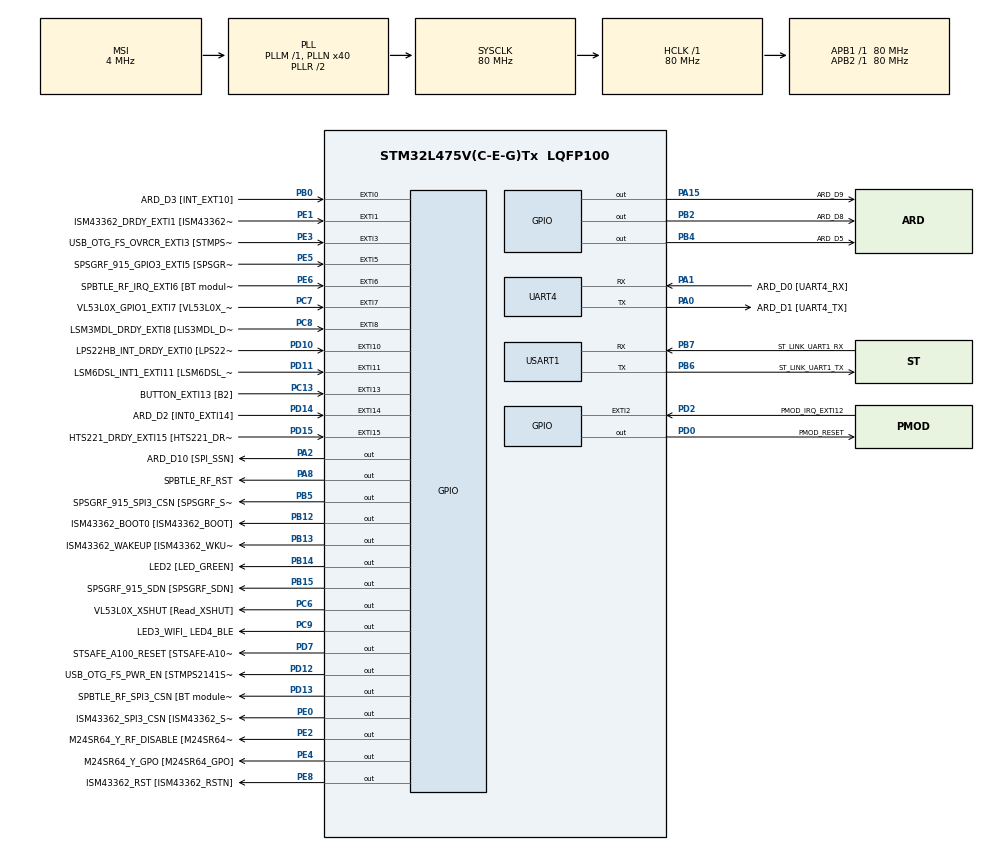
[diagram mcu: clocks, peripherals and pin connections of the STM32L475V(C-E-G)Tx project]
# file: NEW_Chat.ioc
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Mcu.Family=STM32L4
Mcu.Name=STM32L475V(C-E-G)Tx
Mcu.Package=LQFP100
NVIC.EXTI15_10_IRQn=true\:0\:0\:false\:false\:true\:true\:true
NVIC.EXTI9_5_IRQn=true\:0\:0\:false\:false\:true\:true\:true
NVIC.PriorityGroup=NVIC_PRIORITYGROUP_4
NVIC.UART4_IRQn=true\:0\:0\:false\:false\:true\:true\:true
NVIC.USART1_IRQn=true\:0\:0\:false\:false\:true\:true\:true
PA0.GPIO_Label=ARD_D1 [UART4_TX]
PA0.Mode=Asynchronous
PA0.Signal=UART4_TX
PA1.GPIO_Label=ARD_D0 [UART4_RX]
PA1.Mode=Asynchronous
PA1.Signal=UART4_RX
PA10.GPIO_Label=USB_OTG_FS_ID
PA10.Signal=USB_OTG_FS_ID
PA11.GPIO_Label=USB_OTG_FS_DM
PA11.Signal=USB_OTG_FS_DM
PA12.GPIO_Label=USB_OTG_FS_DP
PA12.Signal=USB_OTG_FS_DP
PA13\ (JTMS-SWDIO).GPIO_Label=SYS_JTMS_SWDIO
PA13\ (JTMS-SWDIO).Signal=SYS_JTMS-SWDIO
PA14\ (JTCK-SWCLK).GPIO_Label=SYS_JTCK_SWCLK
PA14\ (JTCK-SWCLK).Signal=SYS_JTCK-SWCLK
PA15\ (JTDI).GPIO_Label=ARD_D9
PA15\ (JTDI).Signal=GPIO_Output
PA2.GPIO_Label=ARD_D10 [SPI_SSN]
PA2.Signal=GPIO_Output
PA3.GPIO_Label=ARD_D4
PA3.Signal=S_TIM2_CH4
PA4.GPIO_Label=ARD_D7
PA4.Signal=ADCx_IN9
PA5.GPIO_Label=ARD_D13 [SPI1_SCK]
PA5.Signal=SPI1_SCK
PA6.GPIO_Label=ARD_D12 [SPI1_MISO]
PA6.Signal=SPI1_MISO
PA7.GPIO_Label=ARD_D11 [SPI1_MOSI]
PA7.Signal=SPI1_MOSI
PA8.GPIO_Label=SPBTLE_RF_RST
PA8.Signal=GPIO_Output
PA9.GPIO_Label=USB_OTG_FS_VBUS [STMPS2141STR_OUT]
PA9.Signal=USB_OTG_FS_VBUS
PB0.GPIO_Label=ARD_D3 [INT_EXT10]
PB0.Signal=GPXTI0
PB1.GPIO_Label=ARD_D6 [ADC1_IN6]
PB1.Signal=ADCx_IN16
PB10.GPIO_Label=INTERNAL_I2C2_SCL [VL53L0X_SCL]
PB10.Signal=I2C2_SCL
PB11.GPIO_Label=INTERNAL_I2C2_SDA [VL53L0X_SDA]
PB11.Signal=I2C2_SDA
PB12.GPIO_Label=ISM43362_BOOT0 [ISM43362_BOOT]
PB12.Signal=GPIO_Output
PB13.GPIO_Label=ISM43362_WAKEUP [ISM43362_WKUP]
PB13.Signal=GPIO_Output
PB14.GPIO_Label=LED2 [LED_GREEN]
PB14.Signal=GPIO_Output
PB15.GPIO_Label=SPSGRF_915_SDN [SPSGRF_SDN]
PB15.Signal=GPIO_Output
PB2.GPIO_Label=ARD_D8
PB2.Signal=GPIO_Output
PB3\ (JTDO-TRACESWO).GPIO_Label=SYS_JTD0_SWO
PB3\ (JTDO-TRACESWO).Signal=SYS_JTDO-SWO
PB4\ (NJTRST).GPIO_Label=ARD_D5
PB4\ (NJTRST).Signal=GPIO_Output
PB5.GPIO_Label=SPSGRF_915_SPI3_CSN [SPSGRF_SPI_CS]
PB5.PinState=GPIO_PIN_SET
PB5.Signal=GPIO_Output
PB6.GPIO_Label=ST_LINK_UART1_TX
PB6.Mode=Asynchronous
PB6.Signal=USART1_TX
PB7.GPIO_Label=ST_LINK_UART1_RX
PB7.Mode=Asynchronous
PB7.Signal=USART1_RX
PB8.GPIO_Label=ARD_D15 [I2C1_SCL]
PB8.Signal=I2C1_SCL
PB9.GPIO_Label=ARD_D14 [I2C1_SDA]
PB9.Signal=I2C1_SDA
PC0.GPIO_Label=ARD_A5 [ADC]
PC0.Signal=ADCx_IN1
PC1.GPIO_Label=ARD_A4 [ADC]
PC1.Signal=ADCx_IN2
PC10.GPIO_Label=INTERNAL_SPI3_SCK [BT module_SPI_SCLK] [ISM43362_SCK]
PC10.Signal=SPI3_SCK
PC11.GPIO_Label=INTERNAL_SPI3_MISO [BT module_SPI_MISO] [ISM43362_MISO]
PC11.Signal=SPI3_MISO
PC12.GPIO_Label=INTERNAL_SPI3_MOSI [BT module_SPI_MOSI] [ISM43362_MOSI]
PC12.Signal=SPI3_MOSI
PC13.GPIO_Label=BUTTON_EXTI13 [B2]
PC13.GPIO_ModeDefaultEXTI=GPIO_MODE_IT_FALLING
PC13.Signal=GPXTI13
PC14-OSC32_IN\ (PC14).Signal=RCC_OSC32_IN
PC15-OSC32_OUT\ (PC15).Signal=RCC_OSC32_OUT
PC2.GPIO_Label=ARD_A3 [ADC]
PC2.Signal=ADCx_IN3
PC3.GPIO_Label=ARD_A2 [ADC]
PC3.Signal=ADCx_IN4
PC4.GPIO_Label=ARD_A1 [ADC]
PC4.Signal=ADCx_IN13
PC5.GPIO_Label=ARD_A0 [ADC]
PC5.Signal=ADCx_IN14
PC6.GPIO_Label=VL53L0X_XSHUT [Read_XSHUT]
PC6.Signal=GPIO_Output
PC7.GPIO_Label=VL53L0X_GPIO1_EXTI7 [VL53L0X_GPIO1]
PC7.Signal=GPXTI7
PC8.GPIO_Label=LSM3MDL_DRDY_EXTI8 [LIS3MDL_DRDY]
PC8.Signal=GPXTI8
PC9.GPIO_Label=LED3_WIFI_ LED4_BLE
PC9.Signal=GPIO_Output
PD0.GPIO_Label=PMOD_RESET
PD0.Signal=GPIO_Output
PD1.GPIO_Label=PMOD_SPI2_SCK
PD1.Signal=SPI2_SCK
PD10.GPIO_Label=LPS22HB_INT_DRDY_EXTI0 [LPS22HB_INT_DRDY] 
PD10.Signal=GPXTI10
PD11.GPIO_Label=LSM6DSL_INT1_EXTI11 [LSM6DSL_INT1]
PD11.Signal=GPXTI11
PD12.GPIO_Label=USB_OTG_FS_PWR_EN [STMPS2141STR_EN]
PD12.Signal=GPIO_Output
PD13.GPIO_Label=SPBTLE_RF_SPI3_CSN [BT module_SPI_CS]
PD13.PinState=GPIO_PIN_SET
PD13.Signal=GPIO_Output
PD14.GPIO_Label=ARD_D2 [INT0_EXTI14]
PD14.Signal=GPXTI14
PD15.GPIO_Label=HTS221_DRDY_EXTI15 [HTS221_DRDY]
PD15.Signal=GPXTI15
PD2.GPIO_Label=PMOD_IRQ_EXTI12
PD2.Signal=GPXTI2
PD3.GPIO_Label=PMOD_UART2_CTS
PD3.Signal=USART2_CTS
PD4.GPIO_Label=PMOD_UART2_RTS
PD4.Signal=USART2_RTS
PD5.GPIO_Label=PMOD_UART2_TX
PD5.Signal=USART2_TX
PD6.GPIO_Label=PMOD_UART2_RX
PD6.Signal=USART2_RX
PD7.GPIO_Label=STSAFE_A100_RESET [STSAFE-A100_RESET]
PD7.Signal=GPIO_Output
PD8.GPIO_Label=INTERNAL_UART3_TX [ISM43362_RX]
PD8.Signal=USART3_TX
PD9.GPIO_Label=INTERNAL_UART3_RX [ISM43362_TX]
PD9.Signal=USART3_RX
PE0.GPIO_Label=ISM43362_SPI3_CSN [ISM43362_SSN]
PE0.PinState=GPIO_PIN_SET
PE0.Signal=GPIO_Output
PE1.GPIO_Label=ISM43362_DRDY_EXTI1 [ISM43362_DATARDY]
PE1.Signal=GPXTI1
PE10.GPIO_Label=QUADSPI_CLK [MX25R6435F_SCLK]
PE10.Signal=QUADSPI_CLK
PE11.GPIO_Label=QUADSPI_NCS [MX25R6435F_SCLK]
PE11.Signal=QUADSPI_NCS
PE12.GPIO_Label=OQUADSPI_BK1_IO0 [MX25R6435F_IO0]
PE12.Signal=QUADSPI_BK1_IO0
PE13.GPIO_Label=QUADSPI_BK1_IO1 [MX25R6435F_IO1]
PE13.Signal=QUADSPI_BK1_IO1
PE14.GPIO_Label=QUAD_SPI_BK1_IO2 [MX25R6435F_IO2]
PE14.Signal=QUADSPI_BK1_IO2
PE15.GPIO_Label=QUAD_SPI_BK1_IO3 [MX25R6435F_IO3]
PE15.Signal=QUADSPI_BK1_IO3
PE2.GPIO_Label=M24SR64_Y_RF_DISABLE [M24SR64_RFDIS]
PE2.Signal=GPIO_Output
PE3.GPIO_Label=USB_OTG_FS_OVRCR_EXTI3 [STMPS2141STR_FAULT]
PE3.Signal=GPXTI3
PE4.GPIO_Label=M24SR64_Y_GPO [M24SR64_GPO]
PE4.Signal=GPIO_Output
PE5.GPIO_Label=SPSGRF_915_GPIO3_EXTI5 [SPSGRF_GPIO_3]
PE5.Signal=GPXTI5
PE6.GPIO_Label=SPBTLE_RF_IRQ_EXTI6 [BT module_SPI_IRQ]
PE6.Signal=GPXTI6
PE7.GPIO_Label=DFSDM1_DATIN2 [MP34DT01_DOUT]
PE7.Signal=S_DATAIN2DFSDM1
PE8.GPIO_Label=ISM43362_RST [ISM43362_RSTN]
PE8.Signal=GPIO_Output
PE9.GPIO_Label=DFSDM1_CKOUT [MP34DT01_CLK]
PE9.Signal=S_CKOUTDFSDM1
ProjectManager.HeapSize=0x200
ProjectManager.StackSize=0x400
ProjectManager.TargetToolchain=STM32CubeIDE
RCC.ADCFreq_Value=48000000
RCC.AHBFreq_Value=80000000
RCC.APB1Freq_Value=80000000
RCC.APB1TimFreq_Value=80000000
RCC.APB2Freq_Value=80000000
RCC.APB2TimFreq_Value=80000000
RCC.CortexFreq_Value=80000000
RCC.HCLKFreq_Value=80000000
RCC.HSE_VALUE=8000000
RCC.HSI_VALUE=16000000
RCC.LSE_VALUE=32768
RCC.MSI_VALUE=4000000
RCC.PLLN=40
RCC.PLLSAI1N=24
RCC.SYSCLKFreq_VALUE=80000000
RCC.SYSCLKSource=RCC_SYSCLKSOURCE_PLLCLK
RCC.USBFreq_Value=48000000
RCC.VCOOutputFreq_Value=160000000
SH.ADCx_IN1.0=ADC1_IN1
SH.ADCx_IN13.0=ADC1_IN13
SH.ADCx_IN14.0=ADC1_IN14
SH.ADCx_IN16.0=ADC1_IN16
SH.ADCx_IN2.0=ADC1_IN2
SH.ADCx_IN3.0=ADC1_IN3
SH.ADCx_IN4.0=ADC1_IN4
SH.ADCx_IN9.0=ADC1_IN9
SH.S_CKOUTDFSDM1.0=DFSDM1_CKOUT
SH.S_DATAIN2DFSDM1.0=DFSDM1_DATIN2
SH.S_TIM2_CH4.0=TIM2_CH4
USART1.VirtualMode-Asynchronous=VM_ASYNC
board=B-L475E-IOT01A1

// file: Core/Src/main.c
/* USER CODE BEGIN Header */
/**
  ******************************************************************************
  * @file           : main.c
  * @brief          : Main program body
  ******************************************************************************
  * @attention
  *
  * <h2><center>&copy; Copyright (c) 2022 STMicroelectronics.
  * All rights reserved.</center></h2>
  *
  * This software component is licensed by ST under BSD 3-Clause license,
  * the "License"; You may not use this file except in compliance with the
  * License. You may obtain a copy of the License at:
  *                        opensource.org/licenses/BSD-3-Clause
  *
  ******************************************************************************
  */
/* USER CODE END Header */
#include "main.h"

/* USER CODE BEGIN Includes */
#include"stdio.h"
#include"string.h"
/* USER CODE END Includes */

/* USER CODE BEGIN PM */
#define BUFFERDATA 2
#define BUFFERRX 50
/* USER CODE END PM */

UART_HandleTypeDef huart4;
UART_HandleTypeDef huart1;

/* USER CODE BEGIN PV */
char TxBuffer[30]="HELLO UART1 INT..!!\r\n";
char TxBuffer1[30]="HELLO UART4 INT..!!\r\n";

char rxBuffer[BUFFERRX];
char rxBuffer1[BUFFERRX];

uint8_t newMsg = 0 , rxData[BUFFERDATA] , rxIndex=0,size=0;
uint8_t newMsg1 = 0 , rxData1[BUFFERDATA] , rxIndex1=0,size1=0;
/* USER CODE END PV */

void SystemClock_Config(void);
static void MX_GPIO_Init(void);
static void MX_USART1_UART_Init(void);
static void MX_UART4_Init(void);

int main(void)
{

  /* MCU Configuration--------------------------------------------------------*/

  /* Reset of all peripherals, Initializes the Flash interface and the Systick. */
  HAL_Init();

  /* Configure the system clock */
  SystemClock_Config();

  /* Initialize all configured peripherals */
  MX_GPIO_Init();
  MX_USART1_UART_Init();
  MX_UART4_Init();
  /* USER CODE BEGIN 2 */

  HAL_UART_Transmit(&huart1,(uint8_t*)TxBuffer,strlen(TxBuffer),500);
  HAL_UART_Transmit(&huart4,(uint8_t*)TxBuffer1,strlen(TxBuffer1),500);
  HAL_UART_Receive_IT(&huart1,rxData,1);
  HAL_UART_Receive_IT(&huart4,rxData1,1);

  /* USER CODE END 2 */

  /* Infinite loop */
  while (1)
  {

    /* USER CODE BEGIN 3 */

		if(newMsg)
		{
			size =strlen(rxBuffer);
			//printf("Size of size : %d\n",size);

			rxBuffer[size]='\r';
			rxBuffer[size+1]='\n';

			HAL_UART_Transmit(&huart4,(uint8_t*)rxBuffer,(size + 3),500);

			memset(rxBuffer,0,(size + 3));
			newMsg=0;
		}

		if(newMsg1)
		{
			size1 =strlen(rxBuffer1);
			//printf("Size of size1 : %d\n",size1);
			rxBuffer1[size1]='\r';
			rxBuffer1[size1 + 1]='\n';

			HAL_UART_Transmit(&huart1,(uint8_t*)rxBuffer1,(size1 + 3),500);

			memset(rxBuffer1,0,(size1 + 3));
			newMsg1=0;
		}

  }
  /* USER CODE END 3 */
}

void SystemClock_Config(void)
{
  RCC_OscInitTypeDef RCC_OscInitStruct = {0};
  RCC_ClkInitTypeDef RCC_ClkInitStruct = {0};

  /** Configure the main internal regulator output voltage
  */
  if (HAL_PWREx_ControlVoltageScaling(PWR_REGULATOR_VOLTAGE_SCALE1) != HAL_OK)
  {
    Error_Handler();
  }
  /** Initializes the RCC Oscillators according to the specified parameters
  * in the RCC_OscInitTypeDef structure.
  */
  RCC_OscInitStruct.OscillatorType = RCC_OSCILLATORTYPE_MSI;
  RCC_OscInitStruct.MSIState = RCC_MSI_ON;
  RCC_OscInitStruct.MSICalibrationValue = 0;
  RCC_OscInitStruct.MSIClockRange = RCC_MSIRANGE_6;
  RCC_OscInitStruct.PLL.PLLState = RCC_PLL_ON;
  RCC_OscInitStruct.PLL.PLLSource = RCC_PLLSOURCE_MSI;
  RCC_OscInitStruct.PLL.PLLM = 1;
  RCC_OscInitStruct.PLL.PLLN = 40;
  RCC_OscInitStruct.PLL.PLLP = RCC_PLLP_DIV7;
  RCC_OscInitStruct.PLL.PLLQ = RCC_PLLQ_DIV2;
  RCC_OscInitStruct.PLL.PLLR = RCC_PLLR_DIV2;
  if (HAL_RCC_OscConfig(&RCC_OscInitStruct) != HAL_OK)
  {
    Error_Handler();
  }
  /** Initializes the CPU, AHB and APB buses clocks
  */
  RCC_ClkInitStruct.ClockType = RCC_CLOCKTYPE_HCLK|RCC_CLOCKTYPE_SYSCLK
                              |RCC_CLOCKTYPE_PCLK1|RCC_CLOCKTYPE_PCLK2;
  RCC_ClkInitStruct.SYSCLKSource = RCC_SYSCLKSOURCE_PLLCLK;
  RCC_ClkInitStruct.AHBCLKDivider = RCC_SYSCLK_DIV1;
  RCC_ClkInitStruct.APB1CLKDivider = RCC_HCLK_DIV1;
  RCC_ClkInitStruct.APB2CLKDivider = RCC_HCLK_DIV1;

  if (HAL_RCC_ClockConfig(&RCC_ClkInitStruct, FLASH_LATENCY_4) != HAL_OK)
  {
    Error_Handler();
  }
}

static void MX_UART4_Init(void)
{

  huart4.Instance = UART4;
  huart4.Init.BaudRate = 115200;
  huart4.Init.WordLength = UART_WORDLENGTH_8B;
  huart4.Init.StopBits = UART_STOPBITS_1;
  huart4.Init.Parity = UART_PARITY_NONE;
  huart4.Init.Mode = UART_MODE_TX_RX;
  huart4.Init.HwFlowCtl = UART_HWCONTROL_NONE;
  huart4.Init.OverSampling = UART_OVERSAMPLING_16;
  huart4.Init.OneBitSampling = UART_ONE_BIT_SAMPLE_DISABLE;
  huart4.AdvancedInit.AdvFeatureInit = UART_ADVFEATURE_NO_INIT;
  if (HAL_UART_Init(&huart4) != HAL_OK)
  {
    Error_Handler();
  }

}

static void MX_USART1_UART_Init(void)
{

  huart1.Instance = USART1;
  huart1.Init.BaudRate = 115200;
  huart1.Init.WordLength = UART_WORDLENGTH_8B;
  huart1.Init.StopBits = UART_STOPBITS_1;
  huart1.Init.Parity = UART_PARITY_NONE;
  huart1.Init.Mode = UART_MODE_TX_RX;
  huart1.Init.HwFlowCtl = UART_HWCONTROL_NONE;
  huart1.Init.OverSampling = UART_OVERSAMPLING_16;
  huart1.Init.OneBitSampling = UART_ONE_BIT_SAMPLE_DISABLE;
  huart1.AdvancedInit.AdvFeatureInit = UART_ADVFEATURE_NO_INIT;
  if (HAL_UART_Init(&huart1) != HAL_OK)
  {
    Error_Handler();
  }

}

static void MX_GPIO_Init(void)
{
  GPIO_InitTypeDef GPIO_InitStruct = {0};

  /* GPIO Ports Clock Enable */
  __HAL_RCC_GPIOE_CLK_ENABLE();
  __HAL_RCC_GPIOC_CLK_ENABLE();
  __HAL_RCC_GPIOA_CLK_ENABLE();
  __HAL_RCC_GPIOB_CLK_ENABLE();
  __HAL_RCC_GPIOD_CLK_ENABLE();

  /*Configure GPIO pin Output Level */
  HAL_GPIO_WritePin(GPIOE, M24SR64_Y_RF_DISABLE_Pin|M24SR64_Y_GPO_Pin|ISM43362_RST_Pin, GPIO_PIN_RESET);

  /*Configure GPIO pin Output Level */
  HAL_GPIO_WritePin(GPIOA, ARD_D10_Pin|SPBTLE_RF_RST_Pin|ARD_D9_Pin, GPIO_PIN_RESET);

  /*Configure GPIO pin Output Level */
  HAL_GPIO_WritePin(GPIOB, ARD_D8_Pin|ISM43362_BOOT0_Pin|ISM43362_WAKEUP_Pin|LED2_Pin
                          |SPSGRF_915_SDN_Pin|ARD_D5_Pin, GPIO_PIN_RESET);

  /*Configure GPIO pin Output Level */
  HAL_GPIO_WritePin(GPIOD, USB_OTG_FS_PWR_EN_Pin|PMOD_RESET_Pin|STSAFE_A100_RESET_Pin, GPIO_PIN_RESET);

  /*Configure GPIO pin Output Level */
  HAL_GPIO_WritePin(SPBTLE_RF_SPI3_CSN_GPIO_Port, SPBTLE_RF_SPI3_CSN_Pin, GPIO_PIN_SET);

  /*Configure GPIO pin Output Level */
  HAL_GPIO_WritePin(GPIOC, VL53L0X_XSHUT_Pin|LED3_WIFI__LED4_BLE_Pin, GPIO_PIN_RESET);

  /*Configure GPIO pin Output Level */
  HAL_GPIO_WritePin(SPSGRF_915_SPI3_CSN_GPIO_Port, SPSGRF_915_SPI3_CSN_Pin, GPIO_PIN_SET);

  /*Configure GPIO pin Output Level */
  HAL_GPIO_WritePin(ISM43362_SPI3_CSN_GPIO_Port, ISM43362_SPI3_CSN_Pin, GPIO_PIN_SET);

  /*Configure GPIO pins : M24SR64_Y_RF_DISABLE_Pin M24SR64_Y_GPO_Pin ISM43362_RST_Pin ISM43362_SPI3_CSN_Pin */
  GPIO_InitStruct.Pin = M24SR64_Y_RF_DISABLE_Pin|M24SR64_Y_GPO_Pin|ISM43362_RST_Pin|ISM43362_SPI3_CSN_Pin;
  GPIO_InitStruct.Mode = GPIO_MODE_OUTPUT_PP;
  GPIO_InitStruct.Pull = GPIO_NOPULL;
  GPIO_InitStruct.Speed = GPIO_SPEED_FREQ_LOW;
  HAL_GPIO_Init(GPIOE, &GPIO_InitStruct);

  /*Configure GPIO pins : USB_OTG_FS_OVRCR_EXTI3_Pin SPSGRF_915_GPIO3_EXTI5_Pin SPBTLE_RF_IRQ_EXTI6_Pin ISM43362_DRDY_EXTI1_Pin */
  GPIO_InitStruct.Pin = USB_OTG_FS_OVRCR_EXTI3_Pin|SPSGRF_915_GPIO3_EXTI5_Pin|SPBTLE_RF_IRQ_EXTI6_Pin|ISM43362_DRDY_EXTI1_Pin;
  GPIO_InitStruct.Mode = GPIO_MODE_IT_RISING;
  GPIO_InitStruct.Pull = GPIO_NOPULL;
  HAL_GPIO_Init(GPIOE, &GPIO_InitStruct);

  /*Configure GPIO pin : BUTTON_EXTI13_Pin */
  GPIO_InitStruct.Pin = BUTTON_EXTI13_Pin;
  GPIO_InitStruct.Mode = GPIO_MODE_IT_FALLING;
  GPIO_InitStruct.Pull = GPIO_NOPULL;
  HAL_GPIO_Init(BUTTON_EXTI13_GPIO_Port, &GPIO_InitStruct);

  /*Configure GPIO pins : ARD_A5_Pin ARD_A4_Pin ARD_A3_Pin ARD_A2_Pin
                           ARD_A1_Pin ARD_A0_Pin */
  GPIO_InitStruct.Pin = ARD_A5_Pin|ARD_A4_Pin|ARD_A3_Pin|ARD_A2_Pin
                          |ARD_A1_Pin|ARD_A0_Pin;
  GPIO_InitStruct.Mode = GPIO_MODE_ANALOG_ADC_CONTROL;
  GPIO_InitStruct.Pull = GPIO_NOPULL;
  HAL_GPIO_Init(GPIOC, &GPIO_InitStruct);

  /*Configure GPIO pins : ARD_D10_Pin SPBTLE_RF_RST_Pin ARD_D9_Pin */
  GPIO_InitStruct.Pin = ARD_D10_Pin|SPBTLE_RF_RST_Pin|ARD_D9_Pin;
  GPIO_InitStruct.Mode = GPIO_MODE_OUTPUT_PP;
  GPIO_InitStruct.Pull = GPIO_NOPULL;
  GPIO_InitStruct.Speed = GPIO_SPEED_FREQ_LOW;
  HAL_GPIO_Init(GPIOA, &GPIO_InitStruct);

  /*Configure GPIO pin : ARD_D4_Pin */
  GPIO_InitStruct.Pin = ARD_D4_Pin;
  GPIO_InitStruct.Mode = GPIO_MODE_AF_PP;
  GPIO_InitStruct.Pull = GPIO_NOPULL;
  GPIO_InitStruct.Speed = GPIO_SPEED_FREQ_LOW;
  GPIO_InitStruct.Alternate = GPIO_AF1_TIM2;
  HAL_GPIO_Init(ARD_D4_GPIO_Port, &GPIO_InitStruct);

  /*Configure GPIO pin : ARD_D7_Pin */
  GPIO_InitStruct.Pin = ARD_D7_Pin;
  GPIO_InitStruct.Mode = GPIO_MODE_ANALOG_ADC_CONTROL;
  GPIO_InitStruct.Pull = GPIO_NOPULL;
  HAL_GPIO_Init(ARD_D7_GPIO_Port, &GPIO_InitStruct);

  /*Configure GPIO pins : ARD_D13_Pin ARD_D12_Pin ARD_D11_Pin */
  GPIO_InitStruct.Pin = ARD_D13_Pin|ARD_D12_Pin|ARD_D11_Pin;
  GPIO_InitStruct.Mode = GPIO_MODE_AF_PP;
  GPIO_InitStruct.Pull = GPIO_NOPULL;
  GPIO_InitStruct.Speed = GPIO_SPEED_FREQ_VERY_HIGH;
  GPIO_InitStruct.Alternate = GPIO_AF5_SPI1;
  HAL_GPIO_Init(GPIOA, &GPIO_InitStruct);

  /*Configure GPIO pin : ARD_D3_Pin */
  GPIO_InitStruct.Pin = ARD_D3_Pin;
  GPIO_InitStruct.Mode = GPIO_MODE_IT_RISING;
  GPIO_InitStruct.Pull = GPIO_NOPULL;
  HAL_GPIO_Init(ARD_D3_GPIO_Port, &GPIO_InitStruct);

  /*Configure GPIO pin : ARD_D6_Pin */
  GPIO_InitStruct.Pin = ARD_D6_Pin;
  GPIO_InitStruct.Mode = GPIO_MODE_ANALOG_ADC_CONTROL;
  GPIO_InitStruct.Pull = GPIO_NOPULL;
  HAL_GPIO_Init(ARD_D6_GPIO_Port, &GPIO_InitStruct);

  /*Configure GPIO pins : ARD_D8_Pin ISM43362_BOOT0_Pin ISM43362_WAKEUP_Pin LED2_Pin
                           SPSGRF_915_SDN_Pin ARD_D5_Pin SPSGRF_915_SPI3_CSN_Pin */
  GPIO_InitStruct.Pin = ARD_D8_Pin|ISM43362_BOOT0_Pin|ISM43362_WAKEUP_Pin|LED2_Pin
                          |SPSGRF_915_SDN_Pin|ARD_D5_Pin|SPSGRF_915_SPI3_CSN_Pin;
  GPIO_InitStruct.Mode = GPIO_MODE_OUTPUT_PP;
  GPIO_InitStruct.Pull = GPIO_NOPULL;
  GPIO_InitStruct.Speed = GPIO_SPEED_FREQ_LOW;
  HAL_GPIO_Init(GPIOB, &GPIO_InitStruct);

  /*Configure GPIO pins : DFSDM1_DATIN2_Pin DFSDM1_CKOUT_Pin */
  GPIO_InitStruct.Pin = DFSDM1_DATIN2_Pin|DFSDM1_CKOUT_Pin;
  GPIO_InitStruct.Mode = GPIO_MODE_AF_PP;
  GPIO_InitStruct.Pull = GPIO_NOPULL;
  GPIO_InitStruct.Speed = GPIO_SPEED_FREQ_LOW;
  GPIO_InitStruct.Alternate = GPIO_AF6_DFSDM1;
  HAL_GPIO_Init(GPIOE, &GPIO_InitStruct);

  /*Configure GPIO pins : QUADSPI_CLK_Pin QUADSPI_NCS_Pin OQUADSPI_BK1_IO0_Pin QUADSPI_BK1_IO1_Pin
                           QUAD_SPI_BK1_IO2_Pin QUAD_SPI_BK1_IO3_Pin */
  GPIO_InitStruct.Pin = QUADSPI_CLK_Pin|QUADSPI_NCS_Pin|OQUADSPI_BK1_IO0_Pin|QUADSPI_BK1_IO1_Pin
                          |QUAD_SPI_BK1_IO2_Pin|QUAD_SPI_BK1_IO3_Pin;
  GPIO_InitStruct.Mode = GPIO_MODE_AF_PP;
  GPIO_InitStruct.Pull = GPIO_NOPULL;
  GPIO_InitStruct.Speed = GPIO_SPEED_FREQ_VERY_HIGH;
  GPIO_InitStruct.Alternate = GPIO_AF10_QUADSPI;
  HAL_GPIO_Init(GPIOE, &GPIO_InitStruct);

  /*Configure GPIO pins : INTERNAL_I2C2_SCL_Pin INTERNAL_I2C2_SDA_Pin */
  GPIO_InitStruct.Pin = INTERNAL_I2C2_SCL_Pin|INTERNAL_I2C2_SDA_Pin;
  GPIO_InitStruct.Mode = GPIO_MODE_AF_OD;
  GPIO_InitStruct.Pull = GPIO_NOPULL;
  GPIO_InitStruct.Speed = GPIO_SPEED_FREQ_VERY_HIGH;
  GPIO_InitStruct.Alternate = GPIO_AF4_I2C2;
  HAL_GPIO_Init(GPIOB, &GPIO_InitStruct);

  /*Configure GPIO pins : INTERNAL_UART3_TX_Pin INTERNAL_UART3_RX_Pin */
  GPIO_InitStruct.Pin = INTERNAL_UART3_TX_Pin|INTERNAL_UART3_RX_Pin;
  GPIO_InitStruct.Mode = GPIO_MODE_AF_PP;
  GPIO_InitStruct.Pull = GPIO_NOPULL;
  GPIO_InitStruct.Speed = GPIO_SPEED_FREQ_VERY_HIGH;
  GPIO_InitStruct.Alternate = GPIO_AF7_USART3;
  HAL_GPIO_Init(GPIOD, &GPIO_InitStruct);

  /*Configure GPIO pins : LPS22HB_INT_DRDY_EXTI0_Pin LSM6DSL_INT1_EXTI11_Pin ARD_D2_Pin HTS221_DRDY_EXTI15_Pin
                           PMOD_IRQ_EXTI12_Pin */
  GPIO_InitStruct.Pin = LPS22HB_INT_DRDY_EXTI0_Pin|LSM6DSL_INT1_EXTI11_Pin|ARD_D2_Pin|HTS221_DRDY_EXTI15_Pin
                          |PMOD_IRQ_EXTI12_Pin;
  GPIO_InitStruct.Mode = GPIO_MODE_IT_RISING;
  GPIO_InitStruct.Pull = GPIO_NOPULL;
  HAL_GPIO_Init(GPIOD, &GPIO_InitStruct);

  /*Configure GPIO pins : USB_OTG_FS_PWR_EN_Pin SPBTLE_RF_SPI3_CSN_Pin PMOD_RESET_Pin STSAFE_A100_RESET_Pin */
  GPIO_InitStruct.Pin = USB_OTG_FS_PWR_EN_Pin|SPBTLE_RF_SPI3_CSN_Pin|PMOD_RESET_Pin|STSAFE_A100_RESET_Pin;
  GPIO_InitStruct.Mode = GPIO_MODE_OUTPUT_PP;
  GPIO_InitStruct.Pull = GPIO_NOPULL;
  GPIO_InitStruct.Speed = GPIO_SPEED_FREQ_LOW;
  HAL_GPIO_Init(GPIOD, &GPIO_InitStruct);

  /*Configure GPIO pins : VL53L0X_XSHUT_Pin LED3_WIFI__LED4_BLE_Pin */
  GPIO_InitStruct.Pin = VL53L0X_XSHUT_Pin|LED3_WIFI__LED4_BLE_Pin;
  GPIO_InitStruct.Mode = GPIO_MODE_OUTPUT_PP;
  GPIO_InitStruct.Pull = GPIO_NOPULL;
  GPIO_InitStruct.Speed = GPIO_SPEED_FREQ_LOW;
  HAL_GPIO_Init(GPIOC, &GPIO_InitStruct);

  /*Configure GPIO pins : VL53L0X_GPIO1_EXTI7_Pin LSM3MDL_DRDY_EXTI8_Pin */
  GPIO_InitStruct.Pin = VL53L0X_GPIO1_EXTI7_Pin|LSM3MDL_DRDY_EXTI8_Pin;
  GPIO_InitStruct.Mode = GPIO_MODE_IT_RISING;
  GPIO_InitStruct.Pull = GPIO_NOPULL;
  HAL_GPIO_Init(GPIOC, &GPIO_InitStruct);

  /*Configure GPIO pin : USB_OTG_FS_VBUS_Pin */
  GPIO_InitStruct.Pin = USB_OTG_FS_VBUS_Pin;
  GPIO_InitStruct.Mode = GPIO_MODE_INPUT;
  GPIO_InitStruct.Pull = GPIO_NOPULL;
  HAL_GPIO_Init(USB_OTG_FS_VBUS_GPIO_Port, &GPIO_InitStruct);

  /*Configure GPIO pins : USB_OTG_FS_ID_Pin USB_OTG_FS_DM_Pin USB_OTG_FS_DP_Pin */
  GPIO_InitStruct.Pin = USB_OTG_FS_ID_Pin|USB_OTG_FS_DM_Pin|USB_OTG_FS_DP_Pin;
  GPIO_InitStruct.Mode = GPIO_MODE_AF_PP;
  GPIO_InitStruct.Pull = GPIO_NOPULL;
  GPIO_InitStruct.Speed = GPIO_SPEED_FREQ_VERY_HIGH;
  GPIO_InitStruct.Alternate = GPIO_AF10_OTG_FS;
  HAL_GPIO_Init(GPIOA, &GPIO_InitStruct);

  /*Configure GPIO pins : INTERNAL_SPI3_SCK_Pin INTERNAL_SPI3_MISO_Pin INTERNAL_SPI3_MOSI_Pin */
  GPIO_InitStruct.Pin = INTERNAL_SPI3_SCK_Pin|INTERNAL_SPI3_MISO_Pin|INTERNAL_SPI3_MOSI_Pin;
  GPIO_InitStruct.Mode = GPIO_MODE_AF_PP;
  GPIO_InitStruct.Pull = GPIO_NOPULL;
  GPIO_InitStruct.Speed = GPIO_SPEED_FREQ_VERY_HIGH;
  GPIO_InitStruct.Alternate = GPIO_AF6_SPI3;
  HAL_GPIO_Init(GPIOC, &GPIO_InitStruct);

  /*Configure GPIO pin : PMOD_SPI2_SCK_Pin */
  GPIO_InitStruct.Pin = PMOD_SPI2_SCK_Pin;
  GPIO_InitStruct.Mode = GPIO_MODE_AF_PP;
  GPIO_InitStruct.Pull = GPIO_NOPULL;
  GPIO_InitStruct.Speed = GPIO_SPEED_FREQ_VERY_HIGH;
  GPIO_InitStruct.Alternate = GPIO_AF5_SPI2;
  HAL_GPIO_Init(PMOD_SPI2_SCK_GPIO_Port, &GPIO_InitStruct);

  /*Configure GPIO pins : PMOD_UART2_CTS_Pin PMOD_UART2_RTS_Pin PMOD_UART2_TX_Pin PMOD_UART2_RX_Pin */
  GPIO_InitStruct.Pin = PMOD_UART2_CTS_Pin|PMOD_UART2_RTS_Pin|PMOD_UART2_TX_Pin|PMOD_UART2_RX_Pin;
  GPIO_InitStruct.Mode = GPIO_MODE_AF_PP;
  GPIO_InitStruct.Pull = GPIO_NOPULL;
  GPIO_InitStruct.Speed = GPIO_SPEED_FREQ_VERY_HIGH;
  GPIO_InitStruct.Alternate = GPIO_AF7_USART2;
  HAL_GPIO_Init(GPIOD, &GPIO_InitStruct);

  /*Configure GPIO pins : ARD_D15_Pin ARD_D14_Pin */
  GPIO_InitStruct.Pin = ARD_D15_Pin|ARD_D14_Pin;
  GPIO_InitStruct.Mode = GPIO_MODE_AF_OD;
  GPIO_InitStruct.Pull = GPIO_NOPULL;
  GPIO_InitStruct.Speed = GPIO_SPEED_FREQ_VERY_HIGH;
  GPIO_InitStruct.Alternate = GPIO_AF4_I2C1;
  HAL_GPIO_Init(GPIOB, &GPIO_InitStruct);

  /* EXTI interrupt init*/
  HAL_NVIC_SetPriority(EXTI9_5_IRQn, 0, 0);
  HAL_NVIC_EnableIRQ(EXTI9_5_IRQn);

  HAL_NVIC_SetPriority(EXTI15_10_IRQn, 0, 0);
  HAL_NVIC_EnableIRQ(EXTI15_10_IRQn);

}

/* USER CODE BEGIN 4 */

void HAL_UART_RxCpltCallback(UART_HandleTypeDef *huart)
{
    if(huart -> Instance == USART1)
    {
    	if(rxData[0]!='\r')
        {
            rxBuffer[rxIndex]=rxData[0];
            rxIndex++;
        }
        else
        {
            newMsg=1;
            rxIndex=0;
        }
        HAL_UART_Receive_IT(&huart1 ,rxData,1);
    }

    if(huart -> Instance == UART4)
        {
        	if(rxData1[0]!='\r')
            {
                rxBuffer1[rxIndex1]=rxData1[0];
                rxIndex1++;
            }
            else
            {
                newMsg1=1;
                rxIndex1=0;
            }
            HAL_UART_Receive_IT(&huart4 ,rxData1,1);
        }
}
/* USER CODE END 4 */

void Error_Handler(void)
{
  __disable_irq();
  while (1)
  {
  }
}

/************************ (C) COPYRIGHT STMicroelectronics *****END OF FILE****/
